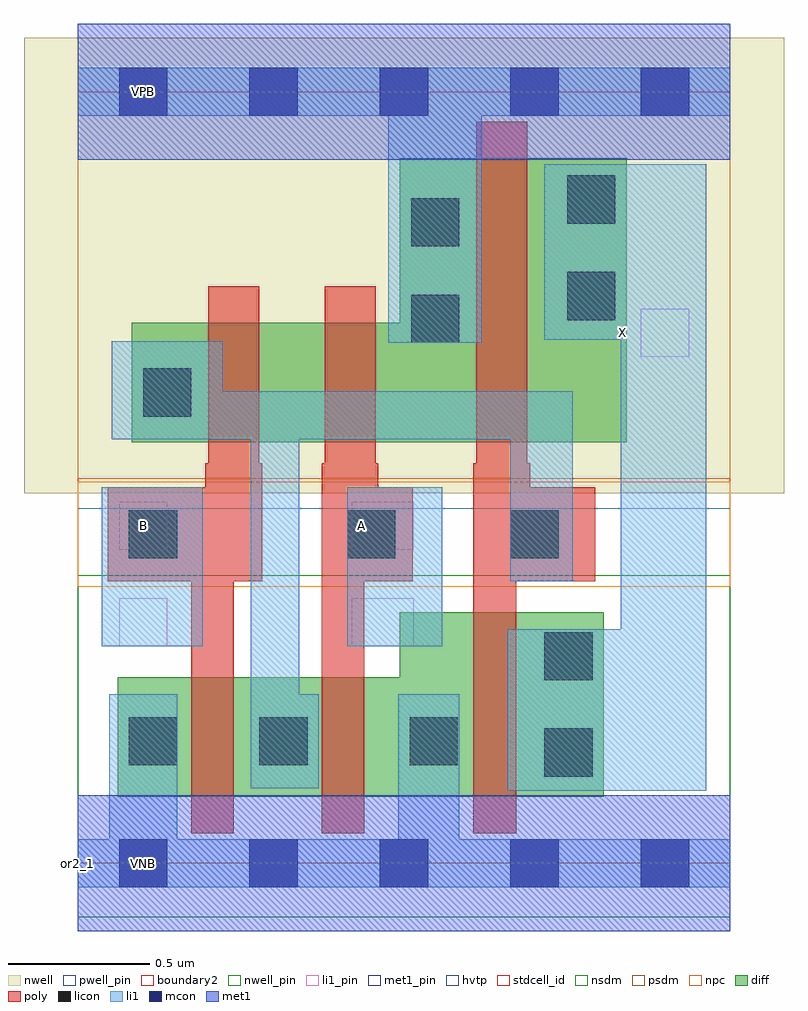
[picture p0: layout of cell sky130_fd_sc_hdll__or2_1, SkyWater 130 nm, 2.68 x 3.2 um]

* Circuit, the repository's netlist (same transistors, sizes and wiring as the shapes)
* Copyright 2020 The SkyWater PDK Authors
*
* Licensed under the Apache License, Version 2.0 (the "License");
* you may not use this file except in compliance with the License.
* You may obtain a copy of the License at
*
*     https://www.apache.org/licenses/LICENSE-2.0
*
* Unless required by applicable law or agreed to in writing, software
* distributed under the License is distributed on an "AS IS" BASIS,
* WITHOUT WARRANTIES OR CONDITIONS OF ANY KIND, either express or implied.
* See the License for the specific language governing permissions and
* limitations under the License.
*
* SPDX-License-Identifier: Apache-2.0

.SUBCKT sky130_fd_sc_hdll__or2_1 A B VGND VNB VPB VPWR X
*.PININFO A:I B:I VGND:I VNB:I VPB:I VPWR:I X:O
MMP0 VPWR A sndPA VPB sky130_fd_pr__pfet_01v8_hvt m=1 w=0.42U l=0.18U mult=1 sa=0.265
+ sb=0.265 sd=0.28 area=0.063 perim=1.14
MMP1 sndPA B y VPB sky130_fd_pr__pfet_01v8_hvt m=1 w=0.42U l=0.18U mult=1 sa=0.265
+ sb=0.265 sd=0.28 area=0.063 perim=1.14
MMIP2 X y VPWR VPB sky130_fd_pr__pfet_01v8_hvt m=1 w=1.0U l=0.18U mult=1 sa=0.265
+ sb=0.265 sd=0.28 area=0.063 perim=1.14
MMN0 y A VGND VNB sky130_fd_pr__nfet_01v8 m=1 w=0.42U l=0.15U mult=1 sa=0.265 sb=0.265
+ sd=0.28 area=0.063 perim=1.14
MMN1 y B VGND VNB sky130_fd_pr__nfet_01v8 m=1 w=0.42U l=0.15U mult=1 sa=0.265 sb=0.265
+ sd=0.28 area=0.063 perim=1.14
MMIN2 X y VGND VNB sky130_fd_pr__nfet_01v8 m=1 w=0.65U l=0.15U mult=1 sa=0.265
+ sb=0.265 sd=0.28 area=0.063 perim=1.14
.ENDS sky130_fd_sc_hdll__or2_1

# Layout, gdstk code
import gdstk
lib = gdstk.Library(unit=1e-6, precision=1e-09)
def R(c, l, rs):  # rectangles x0, y0, x1, y1
    for r in rs: c.add(gdstk.rectangle(r[:2], r[2:], *l))
def A(c, l, x, y, w, h, nx, ny, dx, dy):  # array of equal rectangles
    R(c, l, [(x+i*dx, y+j*dy, x+i*dx+w, y+j*dy+h) for i in range(nx) for j in range(ny)])
def P(c, l, *ps):  # polygons
    for p in ps: c.add(gdstk.Polygon(p, *l))
nwell_pin = (64, 16)
nwell = (64, 20)
diff = (65, 20)
poly = (66, 20)
licon = (66, 44)
li1_pin = (67, 16)
li1 = (67, 20)
mcon = (67, 44)
met1_pin = (68, 16)
met1 = (68, 20)
hvtp = (78, 44)
stdcell_id = (81, 4)
nsdm = (93, 44)
psdm = (94, 20)
npc = (95, 20)
pwell_pin = (122, 16)
boundary2 = (236, 0)

sky130_fd_sc_hdll__or2_1 = lib.new_cell('sky130_fd_sc_hdll__or2_1')
R(sky130_fd_sc_hdll__or2_1, nwell_pin, [(0.145,2.635,0.315,2.805)])
R(sky130_fd_sc_hdll__or2_1, nwell, [(-0.19,1.305,2.49,2.91)])
P(sky130_fd_sc_hdll__or2_1, diff, [(1.855,0.885),(1.135,0.885),(1.135,0.655),(0.14,0.655),(0.14,0.235),(1.855,0.235)],
  [(1.935,2.485),(1.135,2.485),(1.135,1.905),(0.19,1.905),(0.19,1.485),(1.935,1.485)])
P(sky130_fd_sc_hdll__or2_1, poly, [(0.65,1.41),(0.64,1.41),(0.64,2.035),(0.46,2.035),(0.46,1.41),(0.45,1.41),(0.45,1.325),(0.105,1.325),(0.105,0.995),(0.4,0.995),(0.4,0.105),(0.55,0.105),(0.55,0.995),(0.65,0.995)],
  [(1.18,1.325),(1.06,1.325),(1.06,1.41),(1.05,1.41),(1.05,2.035),(0.87,2.035),(0.87,1.41),(0.86,1.41),(0.86,0.105),(1.01,0.105),(1.01,0.995),(1.18,0.995)],
  [(1.825,1.325),(1.595,1.325),(1.595,1.41),(1.585,1.41),(1.585,2.615),(1.405,2.615),(1.405,1.41),(1.395,1.41),(1.395,0.105),(1.545,0.105),(1.545,0.995),(1.825,0.995)])
R(sky130_fd_sc_hdll__or2_1, licon, [(1.645,0.305,1.815,0.475), (0.18,0.345,0.35,0.515), (0.64,0.345,0.81,0.515), (1.17,0.345,1.34,0.515), (1.645,0.645,1.815,0.815), (0.18,1.075,0.35,1.245), (0.95,1.075,1.12,1.245), (1.525,1.075,1.695,1.245), (0.23,1.575,0.4,1.745), (1.175,1.835,1.345,2.005), (1.725,1.915,1.895,2.085), (1.175,2.175,1.345,2.345), (1.725,2.255,1.895,2.425)])
R(sky130_fd_sc_hdll__or2_1, li1_pin, [(0.145,0.765,0.315,0.935), (0.965,0.765,1.185,0.935), (0.145,1.105,0.315,1.275), (0.965,1.105,1.185,1.275), (1.985,1.785,2.155,1.955)])
R(sky130_fd_sc_hdll__or2_1, li1, [(0.085,0.765,0.44,1.325), (0.95,0.765,1.285,1.325)])
P(sky130_fd_sc_hdll__or2_1, li1, [(2.215,2.465),(1.645,2.465),(1.645,1.845),(1.915,1.845),(1.915,0.825),(1.515,0.825),(1.515,0.255),(2.215,0.255)],
  [(1.745,1.665),(0.51,1.665),(0.51,1.84),(0.12,1.84),(0.12,1.495),(0.61,1.495),(0.61,0.265),(0.85,0.265),(0.85,0.595),(0.78,0.595),(0.78,1.495),(1.525,1.495),(1.525,0.995),(1.745,0.995)],
  [(2.3,2.805),(0,2.805),(0,2.635),(1.095,2.635),(1.095,1.835),(1.425,1.835),(1.425,2.635),(2.3,2.635)],
  [(2.3,0.085),(1.345,0.085),(1.345,0.595),(1.13,0.595),(1.13,0.085),(0.35,0.085),(0.35,0.595),(0.11,0.595),(0.11,0.085),(0,0.085),(0,-0.085),(2.3,-0.085)])
A(sky130_fd_sc_hdll__or2_1, mcon, 0.145, -0.085, 0.17, 0.17, 5, 2, 0.46, 2.72)
R(sky130_fd_sc_hdll__or2_1, met1_pin, [(0.145,-0.085,0.315,0.085), (0.145,2.635,0.315,2.805)])
R(sky130_fd_sc_hdll__or2_1, met1, [(0,-0.24,2.3,0.24), (0,2.48,2.3,2.96)])
R(sky130_fd_sc_hdll__or2_1, hvtp, [(0,1.25,2.3,2.72)])
R(sky130_fd_sc_hdll__or2_1, stdcell_id, [(0,0,2.3,2.72)])
R(sky130_fd_sc_hdll__or2_1, nsdm, [(0,-0.19,2.3,1.015)])
R(sky130_fd_sc_hdll__or2_1, psdm, [(0,1.355,2.3,2.91)])
R(sky130_fd_sc_hdll__or2_1, npc, [(0,0.975,2.3,1.345)])
R(sky130_fd_sc_hdll__or2_1, pwell_pin, [(0.145,-0.085,0.315,0.085)])
R(sky130_fd_sc_hdll__or2_1, boundary2, [(0,0,2.3,2.72)])
sky130_fd_sc_hdll__or2_1.add(gdstk.Label('A', (1,1.19), layer=67, texttype=5))
sky130_fd_sc_hdll__or2_1.add(gdstk.Label('X', (1.92,1.87), layer=67, texttype=5))
sky130_fd_sc_hdll__or2_1.add(gdstk.Label('B', (0.23,1.19), layer=67, texttype=5))
sky130_fd_sc_hdll__or2_1.add(gdstk.Label('VPB', (0.23,2.72), layer=64, texttype=5))
sky130_fd_sc_hdll__or2_1.add(gdstk.Label('VNB', (0.23,0), layer=64, texttype=59))
sky130_fd_sc_hdll__or2_1.add(gdstk.Label('VGND', (0.23,0), layer=68, texttype=5))
sky130_fd_sc_hdll__or2_1.add(gdstk.Label('VPWR', (0.23,2.72), layer=68, texttype=5))
sky130_fd_sc_hdll__or2_1.add(gdstk.Label('or2_1', (0,0), layer=83, texttype=44))

lib.write_gds('sky130_fd_sc_hdll__or2_1.gds')
